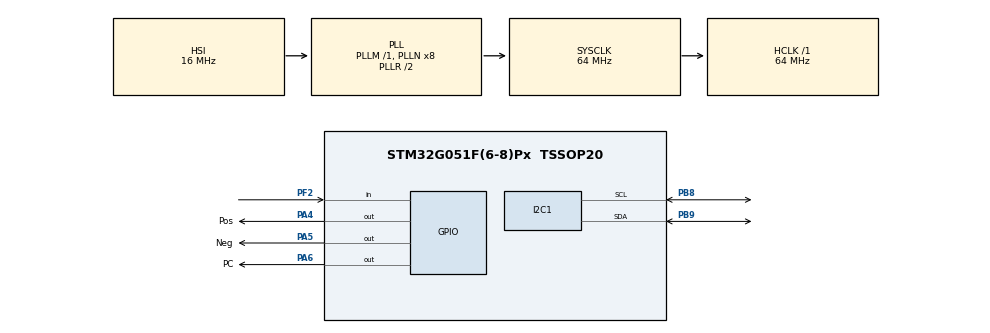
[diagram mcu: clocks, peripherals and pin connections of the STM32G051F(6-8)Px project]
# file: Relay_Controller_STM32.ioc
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Dma.I2C1_RX.1.Direction=DMA_PERIPH_TO_MEMORY
Dma.I2C1_RX.1.EventEnable=DISABLE
Dma.I2C1_RX.1.Instance=DMA1_Channel2
Dma.I2C1_RX.1.MemDataAlignment=DMA_MDATAALIGN_BYTE
Dma.I2C1_RX.1.MemInc=DMA_MINC_ENABLE
Dma.I2C1_RX.1.Mode=DMA_NORMAL
Dma.I2C1_RX.1.PeriphDataAlignment=DMA_PDATAALIGN_BYTE
Dma.I2C1_RX.1.PeriphInc=DMA_PINC_DISABLE
Dma.I2C1_RX.1.Polarity=HAL_DMAMUX_REQ_GEN_RISING
Dma.I2C1_RX.1.Priority=DMA_PRIORITY_LOW
Dma.I2C1_RX.1.RequestNumber=1
Dma.I2C1_RX.1.SignalID=NONE
Dma.I2C1_RX.1.SyncEnable=DISABLE
Dma.I2C1_RX.1.SyncPolarity=HAL_DMAMUX_SYNC_NO_EVENT
Dma.I2C1_RX.1.SyncRequestNumber=1
Dma.I2C1_RX.1.SyncSignalID=NONE
Dma.I2C1_TX.0.Direction=DMA_MEMORY_TO_PERIPH
Dma.I2C1_TX.0.EventEnable=DISABLE
Dma.I2C1_TX.0.Instance=DMA1_Channel1
Dma.I2C1_TX.0.MemDataAlignment=DMA_MDATAALIGN_BYTE
Dma.I2C1_TX.0.MemInc=DMA_MINC_ENABLE
Dma.I2C1_TX.0.Mode=DMA_NORMAL
Dma.I2C1_TX.0.PeriphDataAlignment=DMA_PDATAALIGN_BYTE
Dma.I2C1_TX.0.PeriphInc=DMA_PINC_DISABLE
Dma.I2C1_TX.0.Polarity=HAL_DMAMUX_REQ_GEN_RISING
Dma.I2C1_TX.0.Priority=DMA_PRIORITY_LOW
Dma.I2C1_TX.0.RequestNumber=1
Dma.I2C1_TX.0.SignalID=NONE
Dma.I2C1_TX.0.SyncEnable=DISABLE
Dma.I2C1_TX.0.SyncPolarity=HAL_DMAMUX_SYNC_NO_EVENT
Dma.I2C1_TX.0.SyncRequestNumber=1
Dma.I2C1_TX.0.SyncSignalID=NONE
Dma.Request0=I2C1_TX
Dma.Request1=I2C1_RX
I2C1.CustomTiming=Disabled
I2C1.Speed=2
I2C1.Timing=0x00000000
Mcu.Family=STM32G0
Mcu.Name=STM32G051F(6-8)Px
Mcu.Package=TSSOP20
NVIC.DMA1_Channel1_IRQn=true\:0\:0\:false\:false\:true\:false\:true\:true
NVIC.DMA1_Channel2_3_IRQn=true\:0\:0\:false\:false\:true\:false\:true\:true
NVIC.I2C1_IRQn=true\:0\:0\:false\:false\:true\:true\:true\:true
PA13.Mode=Serial_Wire
PA13.Signal=SYS_SWDIO
PA14-BOOT0.Mode=Serial_Wire
PA14-BOOT0.Signal=SYS_SWCLK
PA14-BOOT0__PA15.StandardMode=true
PA4.GPIO_Label=Pos
PA4.Signal=GPIO_Output
PA5.GPIO_Label=Neg
PA5.Signal=GPIO_Output
PA6.GPIO_Label=PC
PA6.Signal=GPIO_Output
PB0__PB1__PB2__PA8.StandardMode=true
PB3__PB4__PB5__PB6.StandardMode=true
PB7__PB8.StandardMode=true
PB8.GPIO_Pu=GPIO_PULLUP
PB8.GPIO_Speed=GPIO_SPEED_FREQ_VERY_HIGH
PB8.Mode=I2C
PB8.Signal=I2C1_SCL
PB9.GPIO_Pu=GPIO_PULLUP
PB9.GPIO_Speed=GPIO_SPEED_FREQ_VERY_HIGH
PB9.Mode=I2C
PB9.Signal=I2C1_SDA
PC14-OSC32_IN\ (PC14)__PB9.StandardMode=true
PF2-NRST.Signal=GPIO_Input
ProjectManager.HeapSize=0x200
ProjectManager.StackSize=0x400
ProjectManager.TargetToolchain=STM32CubeIDE
RCC.ADCFreq_Value=64000000
RCC.AHBFreq_Value=64000000
RCC.CortexFreq_Value=64000000
RCC.EXTERNAL_CLOCK_VALUE=48000
RCC.HCLKFreq_Value=64000000
RCC.HSE_VALUE=8000000
RCC.HSI_VALUE=16000000
RCC.LSE_VALUE=32768
RCC.SYSCLKFreq_VALUE=64000000
RCC.SYSCLKSource=RCC_SYSCLKSOURCE_PLLCLK
RCC.VCOOutputFreq_Value=128000000
VP_SYS_VS_DBSignals.Mode=DisableDeadBatterySignals
board=custom

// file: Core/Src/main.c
/* USER CODE BEGIN Header */
/**
  ******************************************************************************
  * @file           : main.c
  * @brief          : Main program body
  ******************************************************************************
  * @attention
  *
  * Copyright (c) 2025 STMicroelectronics.
  * All rights reserved.
  *
  * This software is licensed under terms that can be found in the LICENSE file
  * in the root directory of this software component.
  * If no LICENSE file comes with this software, it is provided AS-IS.
  *
  ******************************************************************************
  */
/* USER CODE END Header */
#include "main.h"

/* USER CODE BEGIN Includes */
#include "stdio.h"
#include <stdint.h>
#include <stdbool.h>
/* USER CODE END Includes */

I2C_HandleTypeDef hi2c1;
DMA_HandleTypeDef hdma_i2c1_tx;
DMA_HandleTypeDef hdma_i2c1_rx;

void SystemClock_Config(void);
static void MX_GPIO_Init(void);
static void MX_DMA_Init(void);
static void MX_I2C1_Init(void);

/* USER CODE BEGIN 0 */
#define LTC4151_ADDR 0x67 //page 11 for ADR1 H and ADR0 L, left shift by 1
#define CTRL_REGISTER 0x06 //hexadecimal address 6
#define CTRL_ADDR_CONFIG 0x0C //hexadecimal for 00001100 config
#define VIN_REGISTER_A 0x00
#define VIN_REGISTER_B 0x01
#define VIN_REGISTER_C 0x02
#define VIN_REGISTER_D 0x03

#define Threshold_Voltage 0x14 //20 Volts

#define PositivePin GPIO_PIN_4
#define NegativePin GPIO_PIN_5
#define PrechargePin GPIO_PIN_6

#define PositivePort GPIOA
#define NegativePort GPIOA
#define PrechargePort GPIOA

#define ButtonPort GPIOF
#define ButtonPin GPIO_PIN_2

int Current_Voltage;
static bool prechargeCompleted = 0;
int Button_Status = 0;

uint32_t maxTimeout = 5500; // Set a maximum allowed time (e.g., 5.5 seconds) to avoid an infinite loop.

void LTC4151_Init(void)
{
	/*
	CONTROL Register G (0x06) 0b00001100
	*/
    uint8_t Config = 0x0C; //initialize 8 bit (1 byte) unsigned integer
    uint8_t *pConfig = &Config; //create pointer to hold address of Config data

    HAL_StatusTypeDef status = HAL_I2C_Mem_Write(&hi2c1, (LTC4151_ADDR << 1), CTRL_REGISTER, I2C_MEMADD_SIZE_8BIT, pConfig, 1, 1000000);
	if (status == HAL_OK)
	{
		printf("I2C Write OK: Value 0x%02X written to register 0x%02X.\n", Config, CTRL_REGISTER);
	}
	else
	{
		printf("I2C Write Error: HAL_Status = %d\n", status);
	}
}

void LTC4151_Read(void)
{
    /*
     * Vin Register A (0x02) and B (0x03) A7:0, B7:4
     * HAL_I2C_Master_Read(hi2c, DevAddress (8 bits), pData, Size (# of Bytes), Timeout);
     */
    uint8_t Data1, Data2;
    HAL_StatusTypeDef status1, status2;

    status1 = HAL_I2C_Mem_Read(&hi2c1, (LTC4151_ADDR << 1), VIN_REGISTER_C, I2C_MEMADD_SIZE_8BIT, &Data1, 1, 1000000);
    status2 = HAL_I2C_Mem_Read(&hi2c1, (LTC4151_ADDR << 1), VIN_REGISTER_D, I2C_MEMADD_SIZE_8BIT, &Data2, 1, 1000000);

    if (status1 != HAL_OK)
    {
        printf("I2C Read Error from VIN_REGISTER_C: %d\n", status1);
        LTC4151_Init(); //Reinitialize Device
    }
    if (status2 != HAL_OK)
    {
        printf("I2C Read Error from VIN_REGISTER_D: %d\n", status2);
        LTC4151_Init(); //Reinitialize Device
    }

    // Combine the data (check datasheet)
    Current_Voltage = ( (Data1 << 4) | (Data2 >> 4) ) / 40;

    printf("Value: %u\n", Current_Voltage);
}

void PrechargeProcedure(void) {

    // Check if precharge has already been completed.
    if (prechargeCompleted) {
        return;
    }

    // Read the button status.
    Button_Status = !HAL_GPIO_ReadPin(ButtonPort, ButtonPin); //Button state is flipped

    // Check if the button is pressed
    if (Button_Status == 1) {
        // Turn on Debug LED.
        HAL_GPIO_WritePin(GPIOA, GPIO_PIN_5, GPIO_PIN_SET);

        // Enable Precharge and Negative circuits.
        HAL_GPIO_WritePin(PrechargePort, PrechargePin, GPIO_PIN_SET);
        HAL_GPIO_WritePin(NegativePort, NegativePin, GPIO_PIN_SET);

        // Record the start time.
        uint32_t startTick = HAL_GetTick();
        bool conditionsMet = false;

        // Loop until both conditions are met or the max timeout is reached:
        // 1. 5 seconds have elapsed.
        // 2. Current_Voltage is greater than Threshold_Voltage.
        while ((HAL_GetTick() - startTick) < 3) {
            if (((HAL_GetTick() - startTick) >= 3) && (Current_Voltage > Threshold_Voltage)) {
                conditionsMet = true;
                break;
            }
            //Small delay to reduce CPU usage
            HAL_Delay(10);
        }

        if (conditionsMet) {
            //Conditions are met: enable Positive circuit.
            HAL_GPIO_WritePin(PositivePort, PositivePin, GPIO_PIN_SET);

            //Set the flag to indicate the precharge has run.
			prechargeCompleted = true;
        } else {

            HAL_GPIO_WritePin(NegativePort, NegativePin, GPIO_PIN_RESET); //Disable the Negative Pin
        }

        // Disable the precharge circuit.
        HAL_GPIO_WritePin(PrechargePort, PrechargePin, GPIO_PIN_RESET);
        // Turn off the Debug LED.
        HAL_GPIO_WritePin(GPIOA, GPIO_PIN_5, GPIO_PIN_RESET);

    }
}

/* USER CODE END 0 */

int main(void)
{

  /* MCU Configuration--------------------------------------------------------*/

  /* Reset of all peripherals, Initializes the Flash interface and the Systick. */
  HAL_Init();

  /* Configure the system clock */
  SystemClock_Config();

  /* Initialize all configured peripherals */
  MX_GPIO_Init();
  MX_DMA_Init();
  MX_I2C1_Init();
  /* USER CODE BEGIN 2 */
  HAL_GPIO_WritePin(PrechargePort, PrechargePin, GPIO_PIN_RESET);
  HAL_GPIO_WritePin(NegativePort, NegativePin, GPIO_PIN_RESET);
  HAL_GPIO_WritePin(PositivePort, PositivePin, GPIO_PIN_RESET);
  LTC4151_Init();
  HAL_Delay(500);
  /* USER CODE END 2 */

  /* Infinite loop */
  while (1)
  {

    /* USER CODE BEGIN 3 */
	  LTC4151_Read();
	  	  if (Current_Voltage > 20) {
	  HAL_GPIO_TogglePin(PrechargePort, PrechargePin);
	  HAL_Delay(2000);
	  	  }
  /* USER CODE END 3 */
}
}

void SystemClock_Config(void)
{
  RCC_OscInitTypeDef RCC_OscInitStruct = {0};
  RCC_ClkInitTypeDef RCC_ClkInitStruct = {0};

  /** Configure the main internal regulator output voltage
  */
  HAL_PWREx_ControlVoltageScaling(PWR_REGULATOR_VOLTAGE_SCALE1);

  /** Initializes the RCC Oscillators according to the specified parameters
  * in the RCC_OscInitTypeDef structure.
  */
  RCC_OscInitStruct.OscillatorType = RCC_OSCILLATORTYPE_HSI;
  RCC_OscInitStruct.HSIState = RCC_HSI_ON;
  RCC_OscInitStruct.HSIDiv = RCC_HSI_DIV1;
  RCC_OscInitStruct.HSICalibrationValue = RCC_HSICALIBRATION_DEFAULT;
  RCC_OscInitStruct.PLL.PLLState = RCC_PLL_ON;
  RCC_OscInitStruct.PLL.PLLSource = RCC_PLLSOURCE_HSI;
  RCC_OscInitStruct.PLL.PLLM = RCC_PLLM_DIV1;
  RCC_OscInitStruct.PLL.PLLN = 8;
  RCC_OscInitStruct.PLL.PLLP = RCC_PLLP_DIV2;
  RCC_OscInitStruct.PLL.PLLQ = RCC_PLLQ_DIV2;
  RCC_OscInitStruct.PLL.PLLR = RCC_PLLR_DIV2;
  if (HAL_RCC_OscConfig(&RCC_OscInitStruct) != HAL_OK)
  {
    Error_Handler();
  }

  /** Initializes the CPU, AHB and APB buses clocks
  */
  RCC_ClkInitStruct.ClockType = RCC_CLOCKTYPE_HCLK|RCC_CLOCKTYPE_SYSCLK
                              |RCC_CLOCKTYPE_PCLK1;
  RCC_ClkInitStruct.SYSCLKSource = RCC_SYSCLKSOURCE_PLLCLK;
  RCC_ClkInitStruct.AHBCLKDivider = RCC_SYSCLK_DIV1;
  RCC_ClkInitStruct.APB1CLKDivider = RCC_HCLK_DIV1;

  if (HAL_RCC_ClockConfig(&RCC_ClkInitStruct, FLASH_LATENCY_2) != HAL_OK)
  {
    Error_Handler();
  }
}

static void MX_I2C1_Init(void)
{

  hi2c1.Instance = I2C1;
  hi2c1.Init.Timing = 0x00000000;
  hi2c1.Init.OwnAddress1 = 0;
  hi2c1.Init.AddressingMode = I2C_ADDRESSINGMODE_7BIT;
  hi2c1.Init.DualAddressMode = I2C_DUALADDRESS_DISABLE;
  hi2c1.Init.OwnAddress2 = 0;
  hi2c1.Init.OwnAddress2Masks = I2C_OA2_NOMASK;
  hi2c1.Init.GeneralCallMode = I2C_GENERALCALL_DISABLE;
  hi2c1.Init.NoStretchMode = I2C_NOSTRETCH_DISABLE;
  if (HAL_I2C_Init(&hi2c1) != HAL_OK)
  {
    Error_Handler();
  }

  /** Configure Analogue filter
  */
  if (HAL_I2CEx_ConfigAnalogFilter(&hi2c1, I2C_ANALOGFILTER_ENABLE) != HAL_OK)
  {
    Error_Handler();
  }

  /** Configure Digital filter
  */
  if (HAL_I2CEx_ConfigDigitalFilter(&hi2c1, 0) != HAL_OK)
  {
    Error_Handler();
  }

}

static void MX_DMA_Init(void)
{

  /* DMA controller clock enable */
  __HAL_RCC_DMA1_CLK_ENABLE();

  /* DMA interrupt init */
  /* DMA1_Channel1_IRQn interrupt configuration */
  HAL_NVIC_SetPriority(DMA1_Channel1_IRQn, 0, 0);
  HAL_NVIC_EnableIRQ(DMA1_Channel1_IRQn);
  /* DMA1_Channel2_3_IRQn interrupt configuration */
  HAL_NVIC_SetPriority(DMA1_Channel2_3_IRQn, 0, 0);
  HAL_NVIC_EnableIRQ(DMA1_Channel2_3_IRQn);

}

static void MX_GPIO_Init(void)
{
  GPIO_InitTypeDef GPIO_InitStruct = {0};

  /* GPIO Ports Clock Enable */
  __HAL_RCC_GPIOB_CLK_ENABLE();
  __HAL_RCC_GPIOF_CLK_ENABLE();
  __HAL_RCC_GPIOA_CLK_ENABLE();

  /*Configure GPIO pin Output Level */
  HAL_GPIO_WritePin(GPIOA, Pos_Pin|Neg_Pin|PC_Pin, GPIO_PIN_RESET);

  /*Configure GPIO pin : PF2 */
  GPIO_InitStruct.Pin = GPIO_PIN_2;
  GPIO_InitStruct.Mode = GPIO_MODE_INPUT;
  GPIO_InitStruct.Pull = GPIO_NOPULL;
  HAL_GPIO_Init(GPIOF, &GPIO_InitStruct);

  /*Configure GPIO pins : Pos_Pin Neg_Pin PC_Pin */
  GPIO_InitStruct.Pin = Pos_Pin|Neg_Pin|PC_Pin;
  GPIO_InitStruct.Mode = GPIO_MODE_OUTPUT_PP;
  GPIO_InitStruct.Pull = GPIO_NOPULL;
  GPIO_InitStruct.Speed = GPIO_SPEED_FREQ_LOW;
  HAL_GPIO_Init(GPIOA, &GPIO_InitStruct);

}

void Error_Handler(void)
{
  __disable_irq();
  while (1)
  {
  }
}
